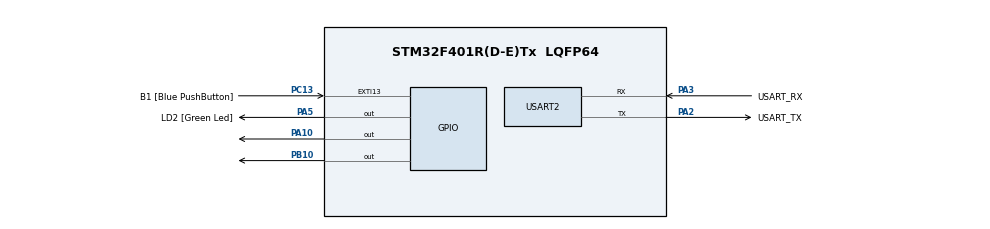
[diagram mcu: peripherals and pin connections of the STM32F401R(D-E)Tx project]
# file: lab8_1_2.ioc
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Mcu.Family=STM32F4
Mcu.Name=STM32F401R(D-E)Tx
Mcu.Package=LQFP64
NVIC.PriorityGroup=NVIC_PRIORITYGROUP_0
PA10.Signal=GPIO_Output
PA13.GPIO_Label=TMS
PA13.Mode=Serial_Wire
PA13.Signal=SYS_JTMS-SWDIO
PA14.GPIO_Label=TCK
PA14.Mode=Serial_Wire
PA14.Signal=SYS_JTCK-SWCLK
PA2.GPIO_Label=USART_TX
PA2.GPIO_Mode=GPIO_MODE_AF_PP
PA2.GPIO_PuPd=GPIO_NOPULL
PA2.GPIO_Speed=GPIO_SPEED_FREQ_LOW
PA2.Mode=Asynchronous
PA2.Signal=USART2_TX
PA3.GPIO_Label=USART_RX
PA3.GPIO_Mode=GPIO_MODE_AF_PP
PA3.GPIO_PuPd=GPIO_NOPULL
PA3.GPIO_Speed=GPIO_SPEED_FREQ_LOW
PA3.Mode=Asynchronous
PA3.Signal=USART2_RX
PA5.GPIO_Label=LD2 [Green Led]
PA5.GPIO_Mode=GPIO_MODE_OUTPUT_PP
PA5.GPIO_PuPd=GPIO_NOPULL
PA5.GPIO_Speed=GPIO_SPEED_FREQ_LOW
PA5.Signal=GPIO_Output
PB10.Signal=GPIO_Output
PB3.GPIO_Label=SWO
PB3.Signal=SYS_JTDO-SWO
PC13-ANTI_TAMP.GPIO_Label=B1 [Blue PushButton]
PC13-ANTI_TAMP.GPIO_ModeDefaultEXTI=GPIO_MODE_IT_FALLING
PC13-ANTI_TAMP.GPIO_PuPd=GPIO_NOPULL
PC13-ANTI_TAMP.Signal=GPXTI13
PC14-OSC32_IN.Mode=LSE-External-Oscillator
PC14-OSC32_IN.Signal=RCC_OSC32_IN
PC15-OSC32_OUT.Mode=LSE-External-Oscillator
PC15-OSC32_OUT.Signal=RCC_OSC32_OUT
PH0\ -\ OSC_IN.Mode=HSE-External-Clock-Source
PH0\ -\ OSC_IN.Signal=RCC_OSC_IN
PH1\ -\ OSC_OUT.Mode=HSE-External-Clock-Source
PH1\ -\ OSC_OUT.Signal=RCC_OSC_OUT
ProjectManager.HeapSize=0x200
ProjectManager.StackSize=0x400
ProjectManager.TargetToolchain=STM32CubeIDE
RCC.48MHZClocksFreq_Value=48000000
RCC.AHBFreq_Value=84000000
RCC.APB1CLKDivider=RCC_HCLK_DIV2
RCC.APB1Freq_Value=42000000
RCC.APB1TimFreq_Value=84000000
RCC.APB2Freq_Value=84000000
RCC.APB2TimFreq_Value=84000000
RCC.CortexFreq_Value=84000000
RCC.HCLKFreq_Value=84000000
RCC.HSE_VALUE=8000000
RCC.HSI_VALUE=16000000
RCC.PLLN=336
RCC.PLLP=RCC_PLLP_DIV4
RCC.PLLQ=7
RCC.SYSCLKFreq_VALUE=84000000
RCC.SYSCLKSource=RCC_SYSCLKSOURCE_PLLCLK
RCC.VCOOutputFreq_Value=336000000
TIM3.AutoReloadPreload=TIM_AUTORELOAD_PRELOAD_ENABLE
TIM3.Channel-Output\ Compare1\ No\ Output=TIM_CHANNEL_1
TIM3.Channel-Output\ Compare2\ No\ Output=TIM_CHANNEL_2
TIM3.OC1Preload=DISABLE
TIM3.OC2Preload=DISABLE
TIM3.OCMode_1=TIM_OCMODE_ACTIVE
TIM3.OCMode_2=TIM_OCMODE_ACTIVE
TIM3.Period=65535
TIM3.Pulse-Output\ Compare1\ No\ Output=5000
TIM3.Pulse-Output\ Compare2\ No\ Output=25000
USART2.VirtualMode=VM_ASYNC
VP_TIM3_VS_ClockSourceINT.Mode=Internal
VP_TIM3_VS_no_output1.Mode=Output Compare1 No Output
VP_TIM3_VS_no_output2.Mode=Output Compare2 No Output
board=NUCLEO-F401RE

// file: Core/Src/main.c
/* USER CODE BEGIN Header */
/**
  ******************************************************************************
  * @file           : main.c
  * @brief          : Main program body
  ******************************************************************************
  * @attention
  *
  * Copyright (c) 2023 STMicroelectronics.
  * All rights reserved.
  *
  * This software is licensed under terms that can be found in the LICENSE file
  * in the root directory of this software component.
  * If no LICENSE file comes with this software, it is provided AS-IS.
  *
  ******************************************************************************
  */
/* USER CODE END Header */
#include "main.h"

/* USER CODE BEGIN Includes */
#define fclk 84e6	//84 MHz
#define V2p5 (fclk / (2*2.5e3))
#define V12p5 (fclk / (2*12.5e3))
/* USER CODE END Includes */

void SystemClock_Config(void);
static void MX_GPIO_Init(void);
static void MX_USART2_UART_Init(void);
static void MX_TIM3_Init(void);

int main(void)
{

  /* MCU Configuration--------------------------------------------------------*/

  /* Reset of all peripherals, Initializes the Flash interface and the Systick. */

  LL_APB2_GRP1_EnableClock(LL_APB2_GRP1_PERIPH_SYSCFG);
  LL_APB1_GRP1_EnableClock(LL_APB1_GRP1_PERIPH_PWR);

  NVIC_SetPriorityGrouping(NVIC_PRIORITYGROUP_0);

  /* System interrupt init*/

  /* Configure the system clock */
  SystemClock_Config();

  /* Initialize all configured peripherals */
  MX_GPIO_Init();
  MX_USART2_UART_Init();
  MX_TIM3_Init();
  /* USER CODE BEGIN 2 */
  LL_TIM_WriteReg(TIM3, CCR1, V12p5);                              // threshold 1
  LL_TIM_WriteReg(TIM3, CCR2, V2p5);                             // threshold 2
  LL_TIM_WriteReg(TIM3, SR, LL_TIM_ReadReg(TIM3, SR) & ~0x2);   // delete OC flag channel 1
  LL_TIM_WriteReg(TIM3, SR, LL_TIM_ReadReg(TIM3, SR) & ~0x4);   // delete OC flag channel 2
  LL_TIM_WriteReg(TIM3, CR1, LL_TIM_ReadReg(TIM3, CR1) | 0x1);  // counter enable channel 1
  LL_TIM_WriteReg(TIM3, CR2, LL_TIM_ReadReg(TIM3, CR2) | 0x1);  // counter enable channel 2

  /* USER CODE END 2 */

  /* Infinite loop */
  /* USER CODE BEGIN WHILE */
  SysTick_Config(SystemCoreClock / 1000);
  while (1)
  {
    /* USER CODE END WHILE */

    /* USER CODE BEGIN 3 */

	  if (LL_TIM_ReadReg(TIM3, SR) & 0x2){
		LL_TIM_WriteReg(TIM3, SR, LL_TIM_ReadReg(TIM3, SR) & ~0x2); // turn off flag channel 1
		LL_TIM_WriteReg(TIM3, CCR1, LL_TIM_ReadReg(TIM3, CCR1) + V12p5); // set next threshold
		LL_GPIO_WriteReg(GPIOB, ODR, LL_GPIO_ReadReg(GPIOB, ODR) ^ (1 << 10)); // toggle pin
	  }
	  if (LL_TIM_ReadReg(TIM3, SR) & 0x4){
		LL_TIM_WriteReg(TIM3, SR, LL_TIM_ReadReg(TIM3, SR) & ~0x4); // turn off flag channel 2
		LL_TIM_WriteReg(TIM3, CCR2, LL_TIM_ReadReg(TIM3, CCR2) + V2p5); // set next threshold
		LL_GPIO_WriteReg(GPIOA, ODR, LL_GPIO_ReadReg(GPIOA, ODR) ^ (1 << 10)); // toggle pin
	  }
  }
  /* USER CODE END 3 */
}

void SystemClock_Config(void)
{
  LL_FLASH_SetLatency(LL_FLASH_LATENCY_2);
  while(LL_FLASH_GetLatency()!= LL_FLASH_LATENCY_2)
  {
  }
  LL_PWR_SetRegulVoltageScaling(LL_PWR_REGU_VOLTAGE_SCALE2);
  LL_RCC_HSI_SetCalibTrimming(16);
  LL_RCC_HSI_Enable();

   /* Wait till HSI is ready */
  while(LL_RCC_HSI_IsReady() != 1)
  {

  }
  LL_RCC_PLL_ConfigDomain_SYS(LL_RCC_PLLSOURCE_HSI, LL_RCC_PLLM_DIV_16, 336, LL_RCC_PLLP_DIV_4);
  LL_RCC_PLL_Enable();

   /* Wait till PLL is ready */
  while(LL_RCC_PLL_IsReady() != 1)
  {

  }
  LL_RCC_SetAHBPrescaler(LL_RCC_SYSCLK_DIV_1);
  LL_RCC_SetAPB1Prescaler(LL_RCC_APB1_DIV_2);
  LL_RCC_SetAPB2Prescaler(LL_RCC_APB2_DIV_1);
  LL_RCC_SetSysClkSource(LL_RCC_SYS_CLKSOURCE_PLL);

   /* Wait till System clock is ready */
  while(LL_RCC_GetSysClkSource() != LL_RCC_SYS_CLKSOURCE_STATUS_PLL)
  {

  }
  LL_Init1msTick(84000000);
  LL_SetSystemCoreClock(84000000);
  LL_RCC_SetTIMPrescaler(LL_RCC_TIM_PRESCALER_TWICE);
}

static void MX_TIM3_Init(void)
{

  LL_TIM_InitTypeDef TIM_InitStruct = {0};
  LL_TIM_OC_InitTypeDef TIM_OC_InitStruct = {0};

  /* Peripheral clock enable */
  LL_APB1_GRP1_EnableClock(LL_APB1_GRP1_PERIPH_TIM3);

  TIM_InitStruct.Prescaler = 0;
  TIM_InitStruct.CounterMode = LL_TIM_COUNTERMODE_UP;
  TIM_InitStruct.Autoreload = 65535;
  TIM_InitStruct.ClockDivision = LL_TIM_CLOCKDIVISION_DIV1;
  LL_TIM_Init(TIM3, &TIM_InitStruct);
  LL_TIM_EnableARRPreload(TIM3);
  LL_TIM_SetClockSource(TIM3, LL_TIM_CLOCKSOURCE_INTERNAL);
  TIM_OC_InitStruct.OCMode = LL_TIM_OCMODE_ACTIVE;
  TIM_OC_InitStruct.OCState = LL_TIM_OCSTATE_ENABLE;
  TIM_OC_InitStruct.OCNState = LL_TIM_OCSTATE_DISABLE;
  TIM_OC_InitStruct.CompareValue = 5000;
  TIM_OC_InitStruct.OCPolarity = LL_TIM_OCPOLARITY_HIGH;
  LL_TIM_OC_Init(TIM3, LL_TIM_CHANNEL_CH1, &TIM_OC_InitStruct);
  LL_TIM_OC_DisableFast(TIM3, LL_TIM_CHANNEL_CH1);
  TIM_OC_InitStruct.CompareValue = 25000;
  LL_TIM_OC_Init(TIM3, LL_TIM_CHANNEL_CH2, &TIM_OC_InitStruct);
  LL_TIM_OC_DisableFast(TIM3, LL_TIM_CHANNEL_CH2);
  LL_TIM_SetTriggerOutput(TIM3, LL_TIM_TRGO_RESET);
  LL_TIM_DisableMasterSlaveMode(TIM3);

}

static void MX_USART2_UART_Init(void)
{

  LL_USART_InitTypeDef USART_InitStruct = {0};

  LL_GPIO_InitTypeDef GPIO_InitStruct = {0};

  /* Peripheral clock enable */
  LL_APB1_GRP1_EnableClock(LL_APB1_GRP1_PERIPH_USART2);

  LL_AHB1_GRP1_EnableClock(LL_AHB1_GRP1_PERIPH_GPIOA);
  /**USART2 GPIO Configuration
  PA2   ------> USART2_TX
  PA3   ------> USART2_RX
  */
  GPIO_InitStruct.Pin = USART_TX_Pin|USART_RX_Pin;
  GPIO_InitStruct.Mode = LL_GPIO_MODE_ALTERNATE;
  GPIO_InitStruct.Speed = LL_GPIO_SPEED_FREQ_LOW;
  GPIO_InitStruct.OutputType = LL_GPIO_OUTPUT_PUSHPULL;
  GPIO_InitStruct.Pull = LL_GPIO_PULL_NO;
  GPIO_InitStruct.Alternate = LL_GPIO_AF_7;
  LL_GPIO_Init(GPIOA, &GPIO_InitStruct);

  USART_InitStruct.BaudRate = 115200;
  USART_InitStruct.DataWidth = LL_USART_DATAWIDTH_8B;
  USART_InitStruct.StopBits = LL_USART_STOPBITS_1;
  USART_InitStruct.Parity = LL_USART_PARITY_NONE;
  USART_InitStruct.TransferDirection = LL_USART_DIRECTION_TX_RX;
  USART_InitStruct.HardwareFlowControl = LL_USART_HWCONTROL_NONE;
  USART_InitStruct.OverSampling = LL_USART_OVERSAMPLING_16;
  LL_USART_Init(USART2, &USART_InitStruct);
  LL_USART_ConfigAsyncMode(USART2);
  LL_USART_Enable(USART2);

}

static void MX_GPIO_Init(void)
{
  LL_EXTI_InitTypeDef EXTI_InitStruct = {0};
  LL_GPIO_InitTypeDef GPIO_InitStruct = {0};

  /* GPIO Ports Clock Enable */
  LL_AHB1_GRP1_EnableClock(LL_AHB1_GRP1_PERIPH_GPIOC);
  LL_AHB1_GRP1_EnableClock(LL_AHB1_GRP1_PERIPH_GPIOH);
  LL_AHB1_GRP1_EnableClock(LL_AHB1_GRP1_PERIPH_GPIOA);
  LL_AHB1_GRP1_EnableClock(LL_AHB1_GRP1_PERIPH_GPIOB);

  /**/
  LL_GPIO_ResetOutputPin(GPIOA, LD2_Pin|LL_GPIO_PIN_10);

  /**/
  LL_GPIO_ResetOutputPin(GPIOB, LL_GPIO_PIN_10);

  /**/
  LL_SYSCFG_SetEXTISource(LL_SYSCFG_EXTI_PORTC, LL_SYSCFG_EXTI_LINE13);

  /**/
  EXTI_InitStruct.Line_0_31 = LL_EXTI_LINE_13;
  EXTI_InitStruct.LineCommand = ENABLE;
  EXTI_InitStruct.Mode = LL_EXTI_MODE_IT;
  EXTI_InitStruct.Trigger = LL_EXTI_TRIGGER_FALLING;
  LL_EXTI_Init(&EXTI_InitStruct);

  /**/
  LL_GPIO_SetPinPull(B1_GPIO_Port, B1_Pin, LL_GPIO_PULL_NO);

  /**/
  LL_GPIO_SetPinMode(B1_GPIO_Port, B1_Pin, LL_GPIO_MODE_INPUT);

  /**/
  GPIO_InitStruct.Pin = LD2_Pin|LL_GPIO_PIN_10;
  GPIO_InitStruct.Mode = LL_GPIO_MODE_OUTPUT;
  GPIO_InitStruct.Speed = LL_GPIO_SPEED_FREQ_LOW;
  GPIO_InitStruct.OutputType = LL_GPIO_OUTPUT_PUSHPULL;
  GPIO_InitStruct.Pull = LL_GPIO_PULL_NO;
  LL_GPIO_Init(GPIOA, &GPIO_InitStruct);

  /**/
  GPIO_InitStruct.Pin = LL_GPIO_PIN_10;
  GPIO_InitStruct.Mode = LL_GPIO_MODE_OUTPUT;
  GPIO_InitStruct.Speed = LL_GPIO_SPEED_FREQ_LOW;
  GPIO_InitStruct.OutputType = LL_GPIO_OUTPUT_PUSHPULL;
  GPIO_InitStruct.Pull = LL_GPIO_PULL_NO;
  LL_GPIO_Init(GPIOB, &GPIO_InitStruct);

}

void Error_Handler(void)
{
  /* USER CODE BEGIN Error_Handler_Debug */
  /* User can add his own implementation to report the HAL error return state */
  __disable_irq();
  SysTick_Config(SystemCoreClock / 1000);
  while (1)
  {
  }
  /* USER CODE END Error_Handler_Debug */
}
